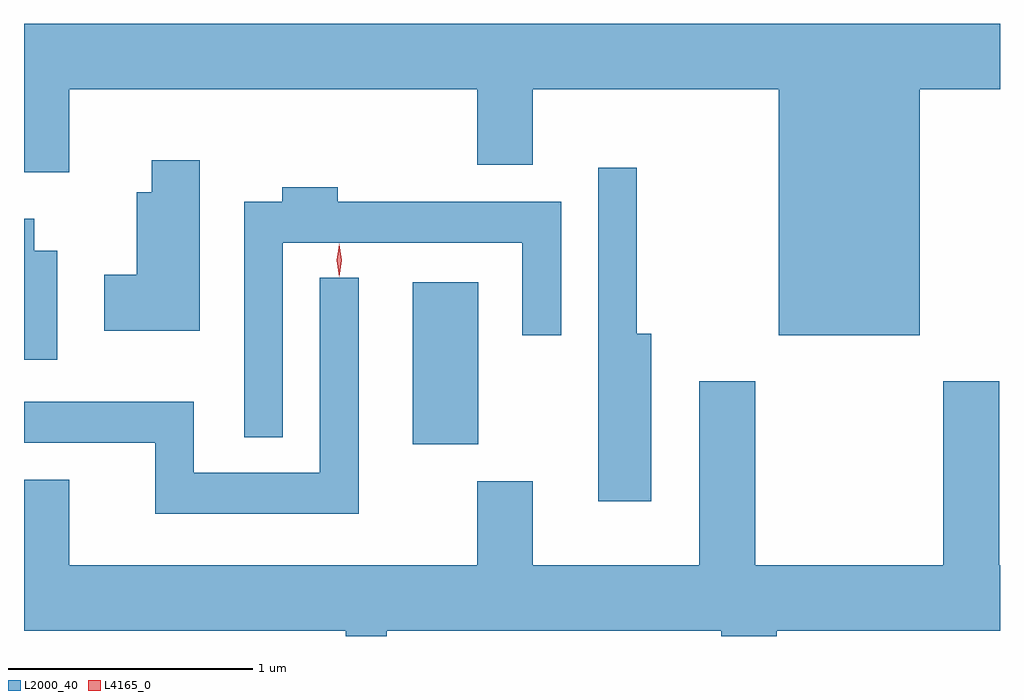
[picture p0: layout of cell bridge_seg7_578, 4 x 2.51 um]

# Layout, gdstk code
import gdstk
lib = gdstk.Library(unit=1e-6, precision=1e-09)
def R(c, l, rs):  # rectangles x0, y0, x1, y1
    for r in rs: c.add(gdstk.rectangle(r[:2], r[2:], *l))
def P(c, l, *ps):  # polygons
    for p in ps: c.add(gdstk.Polygon(p, *l))
L2000_40 = (2000, 40)
L4165_0 = (4165, 0)

bridge_seg7_578 = lib.new_cell('bridge_seg7_578')
R(bridge_seg7_578, L2000_40, [(627.806,1755.041,628.074,1755.704)])
P(bridge_seg7_578, L2000_40, [(629.884,1756.496),(630.213,1756.496),(630.213,1756.764),(626.213,1756.764),(626.213,1756.156),(626.399,1756.156),(626.399,1756.496),(628.071,1756.496),(628.071,1756.186),(628.299,1756.186),(628.299,1756.496),(629.306,1756.496),(629.306,1755.486),(629.884,1755.486)],
  [(626.934,1756.204),(626.736,1756.204),(626.736,1756.074),(626.676,1756.074),(626.676,1755.734),(626.541,1755.734),(626.541,1755.506),(626.934,1755.506)],
  [(628.784,1755.494),(628.724,1755.494),(628.724,1756.173),(628.566,1756.173),(628.566,1754.806),(628.784,1754.806)],
  [(627.274,1755.866),(628.256,1755.866),(628.256,1755.488),(628.414,1755.488),(628.414,1756.034),(627.499,1756.034),(627.499,1756.094),(627.271,1756.094),(627.271,1756.034),(627.116,1756.034),(627.116,1755.068),(627.274,1755.068)],
  [(626.349,1755.834),(626.254,1755.834),(626.254,1755.964),(626.213,1755.964),(626.213,1755.386),(626.349,1755.386)],
  [(627.584,1755.723),(627.426,1755.723),(627.426,1754.924),(626.909,1754.924),(626.909,1755.214),(626.213,1755.214),(626.213,1755.046),(626.751,1755.046),(626.751,1754.756),(627.584,1754.756)],
  [(626.399,1754.894),(626.213,1754.894),(626.213,1754.276),(627.531,1754.276),(627.531,1754.253),(627.699,1754.253),(627.699,1754.276),(629.071,1754.276),(629.071,1754.253),(629.299,1754.253),(629.299,1754.276),(630.213,1754.276),(630.213,1754.544),(630.209,1754.544),(630.209,1755.299),(629.981,1755.299),(629.981,1754.544),(629.209,1754.544),(629.209,1755.299),(628.981,1755.299),(628.981,1754.544),(628.299,1754.544),(628.299,1754.889),(628.071,1754.889),(628.071,1754.544),(626.399,1754.544)])
P(bridge_seg7_578, L4165_0, [(627.504,1755.727),(627.495,1755.794),(627.504,1755.86),(627.505,1755.861),(627.505,1755.86),(627.515,1755.794),(627.505,1755.727),(627.505,1755.727)])

lib.write_gds('bridge_seg7_578.gds')
